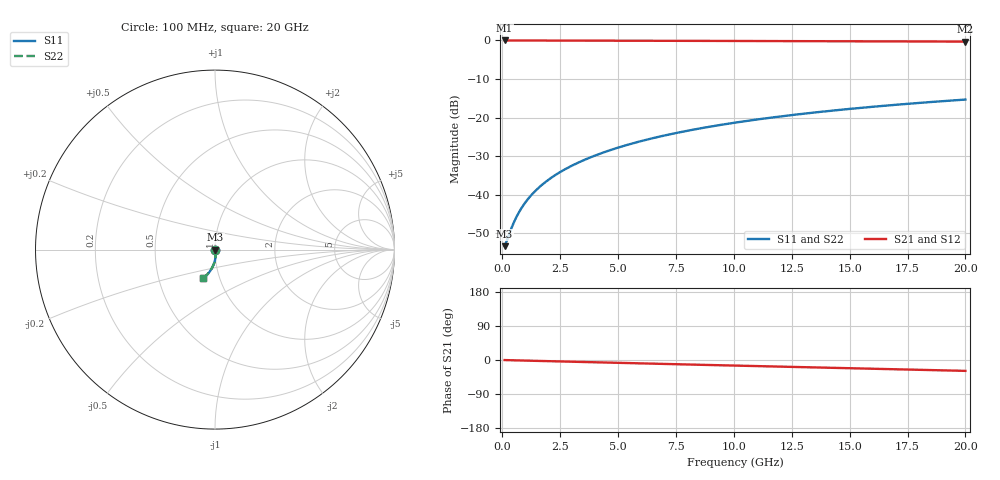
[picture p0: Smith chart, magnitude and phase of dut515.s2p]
! Touchstone file exported from HFSS 2026.1.0
!  File:  C:/ffzhzh/LocalFiles/Ansys_Project_Files/temp_train_BSMRDL_515_1783014454_53980.aedt
!  Generated:  01:48:47 AM Jul  3, 2026
!  Design:  BSMRDL
!  Project:  temp_train_BSMRDL_515_1783014454_53980
! Variables:
!  h_bsmrdl = 4.69um
!  h_ox = 20um
!  h_rdl = 5um
!  h_sub = 80um
!  h_tmrdl = 5um
!  h_tsv = 80um
!  h_via = 3um
!  l_bsmrdl = 477.52um
!  l_sub = 877.52um
!  l_tmrdl = 200um
!  m_sub = 200um
!  pitch = 20.84um
!  r_tsv = 6um
!  s_tmrdl = 10um
!  w_bsmrdl = 18.93um
!  w_sub = 500um
!  w_tmrdl = 12um
!  x_tsv_center1 = 206um
!  x_tsv_center2 = 702.45um
!  x_tsv_center3 = 914.45um
!  x_tsv_center4 = 1410.9um
!  x_tsv_center5 = 1622.9um
!  x_tsv_center6 = 2119.35um
# GHz S MA R 50.000000
! Terminal data exported
! Port[1] = BSM_RDL1_1_T1
! Port[2] = BSM_RDL1_1_T2
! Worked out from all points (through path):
!   200 points, 100 MHz to 20 GHz, reference 50 ohm
!   highest |S21| = -0.02 dB at 100 MHz (marker M1); lowest = -0.3 dB at 20 GHz (marker M2)
!   group delay of S21, straight-line fit = 3.96 ps
!   lowest |S11| = -53.3 dB at 100 MHz (marker M3), VSWR 1.00, Z = 50.2 - j0.0223 ohm
!   |S11| at or under -10 dB: start of sweep to end of sweep
!   |S22| runs from -53.3 to -15.3 dB; largest |S21 - S12| = 4.1e-15
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0.1  0.002164 -5.9  0.9978 -0.2  0.9978 -0.2  0.002164 -5.9
! Gamma 0 0 0 0
! Port Impedance 50 0 50 0
0.2  0.002567 -14.0  0.9975 -0.4  0.9975 -0.4  0.002567 -14.0
0.4  0.003733 -31.8  0.9968 -0.7  0.9968 -0.7  0.003733 -31.8
0.5  0.004398 -39.1  0.9965 -0.8  0.9965 -0.8  0.004398 -39.1
0.7  0.005801 -50.0  0.9962 -1.1  0.9962 -1.1  0.005801 -50.0
0.8  0.006526 -54.1  0.996 -1.3  0.996 -1.3  0.006525 -54.1
1  0.008004 -60.3  0.9958 -1.6  0.9958 -1.6  0.008004 -60.3
1.3  0.01027 -66.5  0.9955 -2.0  0.9955 -2.0  0.01027 -66.5
1.7  0.01336 -71.7  0.9952 -2.6  0.9952 -2.6  0.01336 -71.7
2.2  0.01731 -75.8  0.9946 -3.4  0.9946 -3.4  0.01731 -75.8
2.8  0.02216 -79.0  0.9939 -4.3  0.9939 -4.3  0.02216 -79.0
3.5  0.02797 -81.6  0.993 -5.3  0.993 -5.3  0.02797 -81.6
4.2  0.03392 -83.6  0.992 -6.3  0.992 -6.3  0.03392 -83.7
5  0.04086 -85.6  0.9907 -7.5  0.9907 -7.5  0.04085 -85.7
5.9  0.0488 -87.6  0.9893 -8.8  0.9893 -8.8  0.04879 -87.7
6.8  0.05683 -89.5  0.9879 -10.1  0.9879 -10.1  0.05682 -89.6
8.3  0.07032 -92.5  0.9855 -12.3  0.9855 -12.3  0.0703 -92.6
10.1  0.08649 -95.8  0.9826 -14.8  0.9826 -14.8  0.08647 -95.9
11.7  0.1008 -98.7  0.9799 -17.1  0.9799 -17.1  0.1007 -98.8
13.4  0.1157 -101.6  0.977 -19.5  0.977 -19.5  0.1157 -101.7
16.7  0.1441 -106.9  0.9708 -24.1  0.9708 -24.1  0.1441 -107.1
20  0.1713 -112.0  0.9641 -28.7  0.9641 -28.7  0.1713 -112.2
